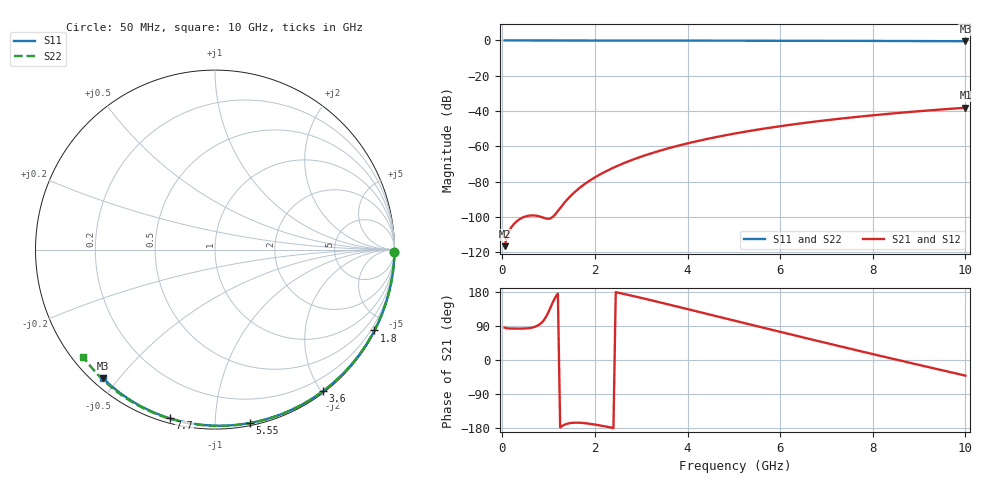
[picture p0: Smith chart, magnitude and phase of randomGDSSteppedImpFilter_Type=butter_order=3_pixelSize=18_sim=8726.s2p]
! freq	dB(S11)	phase(S11)	dB(S12)	phase(S12)
!  dB(S21)	phase(S21)	dB(S22)	phase(S22)
!S-par simulation data
#  GHz  S  DB  R 50
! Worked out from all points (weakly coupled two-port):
!   200 points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, 50 MHz to 10 GHz, reference 50 ohm
!   highest |S21| = -38.09 dB at 10 GHz (marker M1); lowest = -116.4 dB at 50 MHz (marker M2)
!   lowest |S11| = -0.4 dB at 10 GHz (marker M3), VSWR 39.13, Z = 1.54 - j22.7 ohm
!   |S11| at or under -10 dB: nowhere
!   |S22| runs from -0.5 to 0.0 dB; largest |S21 - S12| = 0
!   S11 on the Smith chart (normalised r, x): 50 MHz: open; 1.8 GHz: 0.04, -4.18; 3.6 GHz: 0.02, -2.02; 5.55 GHz: 0.02, -1.22; 7.7 GHz: 0.02, -0.77; 10 GHz: 0.03, -0.45
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0.05  -0.00 -0.8  -116.43 85.7  -116.43 85.7  -0.00 -0.8
0.45  -0.01 -6.8  -100.11 83.0  -100.11 83.0  -0.01 -7.3
0.9  -0.02 -13.6  -100.44 105.6  -100.44 105.6  -0.02 -14.6
1.75  -0.03 -26.2  -81.82 -166.3  -81.82 -166.3  -0.04 -28.1
1.8  -0.03 -26.9  -80.87 -166.9  -80.87 -166.9  -0.04 -28.9
1.85  -0.04 -27.6  -79.97 -167.6  -79.97 -167.6  -0.04 -29.6
2  -0.04 -29.8  -77.48 -170.3  -77.48 -170.3  -0.04 -32.0
2.15  -0.04 -32.0  -75.25 -173.6  -75.25 -173.6  -0.04 -34.3
2.35  -0.04 -34.9  -72.61 -178.4  -72.61 -178.4  -0.05 -37.4
2.55  -0.05 -37.8  -70.26 176.4  -70.26 176.4  -0.05 -40.5
2.95  -0.06 -43.5  -66.21 165.3  -66.21 165.3  -0.06 -46.6
3.4  -0.07 -49.8  -62.42 152.2  -62.42 152.2  -0.07 -53.4
3.6  -0.07 -52.6  -60.94 146.3  -60.94 146.3  -0.08 -56.4
4.3  -0.09 -62.1  -56.44 125.3  -56.44 125.3  -0.09 -66.6
5.05  -0.11 -72.1  -52.54 102.8  -52.54 102.8  -0.12 -77.2
5.55  -0.13 -78.5  -50.32 87.7  -50.32 87.7  -0.14 -84.1
6.1  -0.15 -85.5  -48.17 71.3  -48.17 71.3  -0.16 -91.5
6.7  -0.18 -92.9  -46.09 53.5  -46.09 53.5  -0.19 -99.4
7.7  -0.24 -104.9  -43.14 24.2  -43.14 24.2  -0.26 -112.2
8.35  -0.29 -112.5  -41.50 5.5  -41.50 5.5  -0.31 -120.4
9.2  -0.36 -122.2  -39.62 -18.7  -39.62 -18.7  -0.39 -131.0
10  -0.44 -131.2  -38.09 -41.2  -38.09 -41.2  -0.48 -140.9
